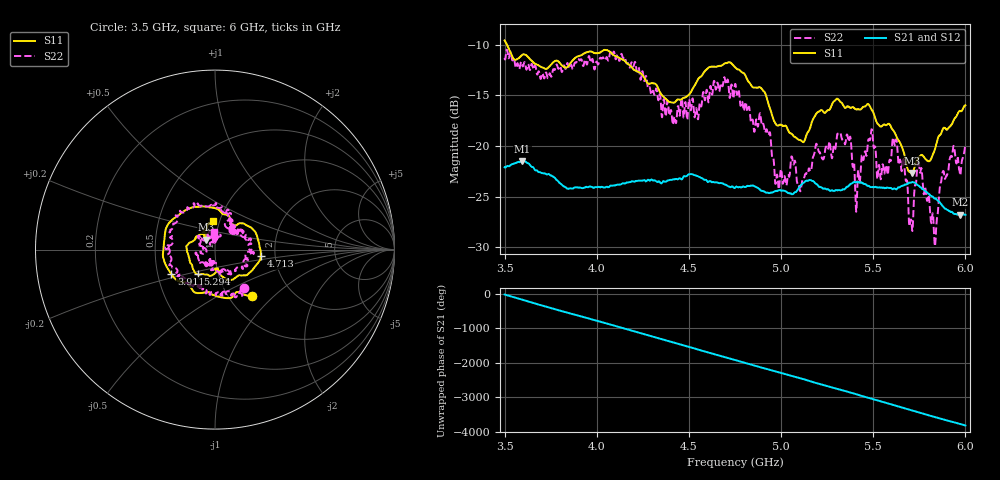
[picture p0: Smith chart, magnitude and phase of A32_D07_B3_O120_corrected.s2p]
! Created with skrf 1.9.0 (http://scikit-rf.org).
# Hz S RI R 50.0
!freq ReS11 ImS11 ReS21 ImS21 ReS12 ImS12 ReS22 ImS22
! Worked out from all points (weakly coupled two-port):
!   1601 points, 3.5 GHz to 6 GHz, reference 50 ohm
!   highest |S21| = -21.47 dB at 3.595 GHz (marker M1); lowest = -26.8 dB at 5.97 GHz (marker M2)
!   lowest |S11| = -22.7 dB at 5.709 GHz (marker M3), VSWR 1.16, Z = 45 + j4.94 ohm
!   |S11| at or under -10 dB: 3.513 GHz to end of sweep
!   |S22| runs from -29.9 to -10.5 dB; largest |S21 - S12| = 0.001
!   S11 on the Smith chart (normalised r, x): 3.5 GHz: 1.28, -0.74; 3.911 GHz: 0.59, -0.17; 4.713 GHz: 1.68, -0.14; 5.294 GHz: 0.80, -0.22; 6 GHz: 0.93, +0.30
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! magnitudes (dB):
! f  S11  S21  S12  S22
! 3.5 GHz  -9.6  -22.1  -22.1  -11.3
! 3.595 GHz  -11.0  -21.5  -21.5  -12.0
! 3.911 GHz  -11.1  -24.1  -24.1  -11.5
! 3.917 GHz  -11.0  -24.2  -24.1  -11.5
! 4.334 GHz  -14.4  -23.5  -23.5  -15.5
! 4.713 GHz  -11.8  -24.0  -24.0  -13.6
! 4.75 GHz  -12.2  -24.1  -24.0  -13.9
! 4.931 GHz  -15.9  -24.6  -24.6  -18.9
! 4.98 GHz  -18.0  -24.4  -24.4  -22.9
! 5.167 GHz  -17.6  -23.4  -23.4  -21.9
! 5.294 GHz  -15.5  -24.4  -24.4  -20.3
! 5.367 GHz  -16.1  -23.9  -23.9  -19.6
! 5.414 GHz  -16.4  -23.6  -23.6  -23.7
! 5.484 GHz  -16.2  -24.0  -24.0  -19.2
! 5.584 GHz  -17.8  -24.1  -24.1  -21.9
! 5.619 GHz  -18.8  -24.2  -24.2  -20.0
! 5.709 GHz  -22.7  -23.6  -23.5  -28.0
! 5.75 GHz  -21.1  -24.0  -24.0  -22.1
! 5.838 GHz  -20.1  -25.2  -25.2  -29.4
! 5.873 GHz  -18.5  -25.9  -25.8  -22.8
! 5.97 GHz  -16.6  -26.8  -26.8  -22.8
! 6 GHz  -16.0  -26.8  -26.7  -19.9
